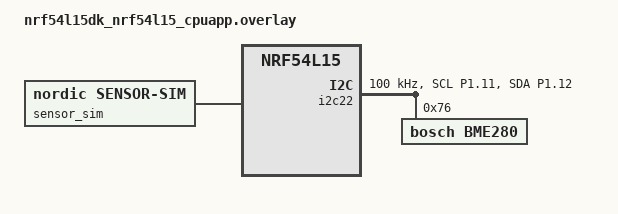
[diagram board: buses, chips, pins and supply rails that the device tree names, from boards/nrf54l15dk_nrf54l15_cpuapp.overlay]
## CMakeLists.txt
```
#
# Copyright (c) 2018 Nordic Semiconductor
#
# SPDX-License-Identifier: LicenseRef-Nordic-5-Clause
#
cmake_minimum_required(VERSION 3.20.0)

find_package(Zephyr REQUIRED HINTS $ENV{ZEPHYR_BASE})
project(peripheral_lbs_ext)

# NORDIC SDK APP START
target_sources(app PRIVATE
  src/main.c
  src/sensor_data_collector.c src/sensor_data_storage.c
)
target_include_directories(app PRIVATE inc)
# NORDIC SDK APP END
```

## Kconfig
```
#
# Copyright (c) 2018 Nordic Semiconductor
#
# SPDX-License-Identifier: LicenseRef-Nordic-5-Clause
#

source "Kconfig.zephyr"

menu "Nordic LED-Button BLE GATT service sample"

config BT_LBS_SECURITY_ENABLED
	bool "Enable security"
	default y
	select BT_SMP
	select BT_SETTINGS
	select FLASH
	select FLASH_PAGE_LAYOUT
	select FLASH_MAP
	select ZMS if (SOC_FLASH_NRF_RRAM || SOC_FLASH_NRF_MRAM)
	select NVS if !(SOC_FLASH_NRF_RRAM || SOC_FLASH_NRF_MRAM)
	select SETTINGS
	help
	  "Enable BLE security for the LED-Button service"

config APP_CONTROL_SAMPLING_INTERVAL_S
	int "sample interval [s]"
	range 10 5400
	default 10
	help
	  Time in seconds between sample data acquisition from sensors

config SIMULATED_SENSOR
	bool "Enable simulated sensor"
	default n
	help
	  In case you don't have environmental and IMU sensors, enabling this option will 
	  build a simulated sensor driver
endmenu
```

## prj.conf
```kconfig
#
# Copyright (c) 2018 Nordic Semiconductor
#
# SPDX-License-Identifier: LicenseRef-Nordic-5-Clause
#
CONFIG_NCS_SAMPLES_DEFAULTS=y

CONFIG_BT=y
CONFIG_BT_PERIPHERAL=y
CONFIG_BT_DEVICE_NAME="BK_LBS"

CONFIG_BT_BUF_ACL_RX_SIZE=502
CONFIG_BT_BUF_ACL_TX_SIZE=502
CONFIG_BT_L2CAP_TX_MTU=498
CONFIG_BT_CTLR_DATA_LENGTH_MAX=251


# Enable the LBS service
CONFIG_BT_LBS=y
CONFIG_BT_LBS_POLL_BUTTON=y
CONFIG_DK_LIBRARY=y

CONFIG_SYSTEM_WORKQUEUE_STACK_SIZE=2048

#Enable Sensor API
CONFIG_SENSOR=y
CONFIG_BME280=y

#Enable NSMS(Nordic Satus Message Service)
CONFIG_BT_NSMS=y
#Enable float string formatting
CONFIG_NEWLIB_LIBC=y
CONFIG_NEWLIB_LIBC_FLOAT_PRINTF=y
```

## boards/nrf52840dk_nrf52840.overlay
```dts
&i2c0 {
	
	bme280@76 {
		compatible = "bosch,bme280";
		reg = <0x76>;	
		label = "BME280";
	};	
};
```

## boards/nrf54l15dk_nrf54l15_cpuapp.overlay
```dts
// To get started, press Ctrl+Space to bring up the completion menu and view the available nodes.

// You can also use the buttons in the sidebar to perform actions on nodes.
// Actions currently available include:

// * Enabling / disabling the node
// * Adding the bus to a bus
// * Removing the node
// * Connecting ADC channels

// For more help, browse the DeviceTree documentation at https://docs.zephyrproject.org/latest/guides/dts/index.html
// You can also visit the nRF DeviceTree extension documentation at https://docs.nordicsemi.com/bundle/nrf-connect-vscode/page/guides/ncs_configure_app.html#devicetree-support-in-the-extension
/ {
	sensor_sim: sensor_sim{
		compatible = "nordic,sensor-sim";
		acc-signal = "wave";
		acc-wave-type = "triangle";
		acc-wave-amplitude = < 10 >;

	};
};

&i2c22 {
	status = "okay";

	bme280: bme280@76 {
		compatible = "bosch,bme280";
		reg = <0x76>;
		//status = "okay";		
	};	

	clock-frequency = <I2C_BITRATE_STANDARD>;
	pinctrl-0 = <&i2c22_default>;
	pinctrl-names = "default";
};

&pinctrl {
	i2c22_default: i2c22_default {
		group1 {
			psels = <NRF_PSEL(TWIM_SCL, 1, 11)>, <NRF_PSEL(TWIM_SDA, 1, 12)>;
		};
	};
};

&mx25r64 {
	partitions {
		compatible = "fixed-partitions";
		#address-cells = <1>;
		#size-cells = <1>;
		sensor_data_ex_partition: partition@0 {
			label = "sensor_data_ex_partition";
			reg = <0x00000000 0x00800000>;
		};
	};
};

/ {
    chosen {
        nordic,pm-ext-flash = &mx25r64;
    };
};
```

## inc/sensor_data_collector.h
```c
#ifndef SENSOR_DATA_COLLECTOR_H
#define SENSOR_DATA_COLLECTOR_H
#include <zephyr/drivers/sensor.h>

//struct k_msgq *get_sensor_readings_queue(void);

typedef struct {
	struct sensor_value temp;     // BME688
	struct sensor_value press;    // BME688
	struct sensor_value humidity; // BME688
	//struct sensor_value gas_res; // BME688
	//struct sensor_value gyr[3];  // BMI270
	//struct sensor_value acc[3]; // BMI270
} sensorsreadings;

#define ENV_VALUES_CNT 3

#endif 
```

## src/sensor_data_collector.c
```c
#include <stdio.h>
#include <zephyr/kernel.h>
#include <zephyr/device.h>
#include <zephyr/devicetree.h>
#include <zephyr/drivers/sensor.h>
//
#include <zephyr/bluetooth/conn.h>
#include <bluetooth/services/nsms.h>
//
#include "sensor_data_collector.h"

#define SENSOR_THREAD_PRIORITY 7
#define SENSOR_THREAD_STACK_SIZE 1024

#define BUF_SIZE		64

K_MSGQ_DEFINE(sensor_readings_queue, sizeof(sensorsreadings), 16, 4);

BT_NSMS_DEF(nsms_env, "Environmental", false, "Unknown", BUF_SIZE);

static struct bt_conn *current_conn = NULL;

static void connected(struct bt_conn *conn, uint8_t err)
{
	current_conn = bt_conn_ref(conn);
	printk("connected in sensor_data_collector...\n");
}

static void disconnected(struct bt_conn *conn, uint8_t reason)
{
	if (current_conn) {
		bt_conn_unref(current_conn);
		current_conn = NULL;
	}
	printk("disconnected in sensor_data_collector...\n");
}

BT_CONN_CB_DEFINE(conn_callbacks1) = {
	.connected = connected,
	.disconnected = disconnected,

};

static bool send_sensor_value(const struct sensor_value *val, size_t size, const char *channel)
{
	float float_data[size];
	char buf[BUF_SIZE];

	int len = sprintf(buf, "%s ", channel);

	for (size_t i = 0; i < size; i++) {
		float_data[i] = sensor_value_to_float(&val[i]);

		len += sprintf(buf + len, "%.6f ", (double)float_data[i]);
	}

	bt_nsms_set_status(&nsms_env, buf);
	
	return true;
}

#ifdef CONFIG_SIMULATED_SENSOR
static const struct device *get_simulated_sensor(void)
{
    const struct device *const dev = DEVICE_DT_GET(DT_NODELABEL(sensor_sim));

    if (dev == NULL)
    {
        printk("\nError : no device found.\n");
        return NULL;
    }

    if (!device_is_ready(dev))
    {
        printk("\nError : Device \"%s\" is not ready.\n", dev->name);            
        return NULL;
    }

    printk("\nDevice \"%s\" is ready.\n", dev->name);

    return dev;
}
#else
static const struct device *get_bme280_sensor(void)
{
	const struct device *const dev = DEVICE_DT_GET(DT_NODELABEL(bme280));
	//const struct device *const dev = DEVICE_DT_GET_ANY(bosch_bme280);

	if (dev == NULL) {
		/* No such node, or the node does not have status "okay". */
		printk("\nError: no device found.\n");
		return NULL;
	}

	if (!device_is_ready(dev)) {
		printk("\nError: Device \"%s\" is not ready; "
		       "check the driver initialization logs for errors.\n",
		       dev->name);
		return NULL;
	}

	printk("Found device \"%s\", getting sensor data\n", dev->name);
	return dev;
}


#endif

int sensor_data_collector(void)
{
#ifdef CONFIG_SIMULATED_SENSOR    

    const struct device *sim_dev = get_simulated_sensor();

	if (sim_dev == NULL) {
		return 0;
	}

	while (1) {
		sensorsreadings value;
		sensor_sample_fetch(sim_dev);
		// Simulated sensor
		sensor_channel_get(sim_dev, SENSOR_CHAN_AMBIENT_TEMP, &value.temp);
		sensor_channel_get(sim_dev, SENSOR_CHAN_PRESS, &value.press);
		sensor_channel_get(sim_dev, SENSOR_CHAN_HUMIDITY, &value.humidity);		

		printk("Sensor Thread Reporting!\n");		
		printk("T: %d.%06d; P: %d.%06d; H: %d.%06d\n\n", value.temp.val1, value.temp.val2,
		       value.press.val1, value.press.val2, value.humidity.val1,
		       value.humidity.val2);

		if (current_conn != NULL) {
			send_sensor_value(&value.temp, 1, "temp");
			send_sensor_value(&value.press, 1, "press");
			send_sensor_value(&value.humidity, 1, "humidity");		
		}

		int ret = k_msgq_put(&sensor_readings_queue, &value, K_NO_WAIT);
		if (ret) {
			printk("Failed to put data into message queue\n");
		}

		k_sleep(K_SECONDS(CONFIG_APP_CONTROL_SAMPLING_INTERVAL_S));
	}
#else
const struct device *dev_bme280 = get_bme280_sensor();
	if (dev_bme280 == NULL) {
		return 0;
	}
	
	while (1) {
		sensorsreadings value;
		sensor_sample_fetch(dev_bme280);
		
		sensor_channel_get(dev_bme280, SENSOR_CHAN_AMBIENT_TEMP, &value.temp);
		sensor_channel_get(dev_bme280, SENSOR_CHAN_PRESS, &value.press);
		sensor_channel_get(dev_bme280, SENSOR_CHAN_HUMIDITY, &value.humidity);
		
		printk("Sensor Thread Reporting!\n");		
		printk("T: %d.%06d; P: %d.%06d; H: %d.%06d\n", value.temp.val1,
		       value.temp.val2, value.press.val1, value.press.val2, value.humidity.val1,
		       value.humidity.val2);

		if (current_conn != NULL) {
			send_sensor_value(&value.temp, 1, "temp");
			send_sensor_value(&value.press, 1, "press");
			send_sensor_value(&value.humidity, 1, "humidity");	
		}

		int ret = k_msgq_put(&sensor_readings_queue, &value, K_NO_WAIT);
		if (ret) {
			printk("Failed to put data into message queue\n");
		}

		k_sleep(K_SECONDS(CONFIG_APP_CONTROL_SAMPLING_INTERVAL_S));
	}

#endif
}

struct k_msgq *get_sensor_readings_queue(void)
{
	return &sensor_readings_queue;
}

K_THREAD_DEFINE(sensor_data_collector_id, SENSOR_THREAD_STACK_SIZE, sensor_data_collector, NULL,
    NULL, NULL, SENSOR_THREAD_PRIORITY, 0, 1000);
```

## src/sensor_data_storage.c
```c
#include <stdio.h>
#include <string.h>
#include <zephyr/kernel.h>
#include <zephyr/drivers/flash.h>
#include <zephyr/storage/flash_map.h>
//#include <zephyr/fs/nvs.h>
#include <zephyr/fs/zms.h>

#include "sensor_data_collector.h"
#define STORAGE_THREAD_STACKSIZE 1024
#define STORAGE_THREAD_PRIORITY	 7
#define MTX_LOCK_WAIT_TIME	 K_MSEC(200)

static struct zms_fs fs;
/* Partition selection for where to store the data */
#define ZMS_PARTITION		 sensor_data_ex_partition
#define ZMS_PARTITION_DEVICE	 FIXED_PARTITION_DEVICE(ZMS_PARTITION)
#define ZMS_PARTITION_OFFSET	 FIXED_PARTITION_OFFSET(ZMS_PARTITION)
#define ZMS_PARTITION_SIZE	 FIXED_PARTITION_SIZE(ZMS_PARTITION)
#define DATA_SIZE_MSG		 "use uint16_t little endian as input"
#define NO_DATA_MSG		 "No data"
#define ENV_ZMS_ID		 0x859

static K_MUTEX_DEFINE(zms_mtx);
static uint32_t latest_id;
static uint32_t r_val;

/* environmental sensor data storage chunk*/
struct zms_storage_chunk {
	uint32_t id;
	struct sensor_value values[ENV_VALUES_CNT];
};

static void sensor_data_storage(void)
{
	struct k_msgq *sensor_queue;
	sensorsreadings value;
	struct zms_storage_chunk latest_env;
	struct flash_pages_info info;

    fs.flash_device = ZMS_PARTITION_DEVICE;
	fs.offset = ZMS_PARTITION_OFFSET;

	if (!device_is_ready(fs.flash_device)) {
		printk("Flash device %s is not ready.\n", fs.flash_device->name);
		return;
	}
	int rc = flash_get_page_info_by_offs(fs.flash_device, fs.offset, &info);

	if (rc) {
		printk("Unable to get page info.\n");
		return;
	}
	fs.sector_size = info.size;
	fs.sector_count = ZMS_PARTITION_SIZE / fs.sector_size;

	rc = zms_mount(&fs);
	if (rc) {
		printk("Flash Init failed.\n");
		return;
	}

	rc = zms_read(&fs, ENV_ZMS_ID, &latest_env, sizeof(latest_env));
	if (rc > 0) {
		printk("ZMS latest id %d\n", latest_env.id);
		latest_id = latest_env.id;
	} else {
		latest_id = 0;
	}

	sensor_queue = get_sensor_readings_queue();
	if (sensor_queue == NULL) {
		printk("Error getting samples queue\n");
	}
	while (1) {

		int ret = k_msgq_get(sensor_queue, &value, K_FOREVER);
		if (ret) {
			printk("Return value from k_msgq_get = %d\n", ret);
		}
		// Populate the latest event
		latest_env.id = ++latest_id;
		latest_env.values[0] = value.temp;
		latest_env.values[1] = value.press;
		latest_env.values[2] = value.humidity;

		k_mutex_lock(&zms_mtx, MTX_LOCK_WAIT_TIME);
		r_val = zms_write(&fs, ENV_ZMS_ID, &latest_env, sizeof(latest_env));
        printk("number of bytes written : %d\n",r_val);
		k_mutex_unlock(&zms_mtx);
	}
}

K_THREAD_DEFINE(sensor_data_storage_id, STORAGE_THREAD_STACKSIZE, sensor_data_storage, NULL, NULL,
		NULL, STORAGE_THREAD_PRIORITY, 0, 2000);
```
